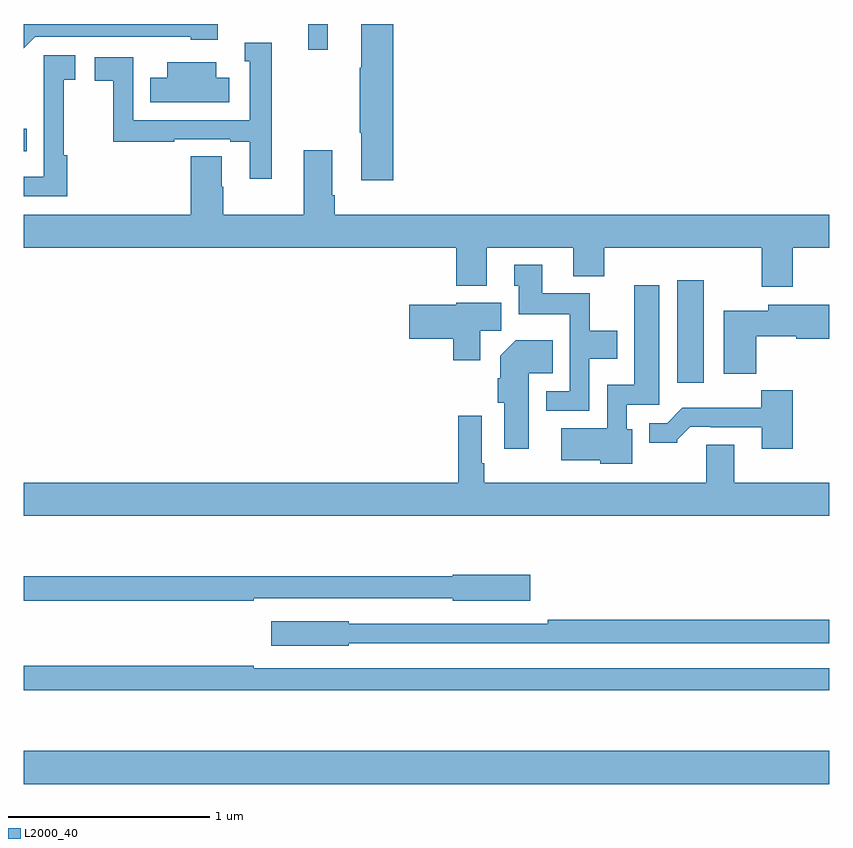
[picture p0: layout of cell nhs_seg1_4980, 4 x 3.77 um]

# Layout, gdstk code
import gdstk
lib = gdstk.Library(unit=1e-6, precision=1e-09)
def R(c, l, rs):  # rectangles x0, y0, x1, y1
    for r in rs: c.add(gdstk.rectangle(r[:2], r[2:], *l))
def P(c, l, *ps):  # polygons
    for p in ps: c.add(gdstk.Polygon(p, *l))
L2000_40 = (2000, 40)

nhs_seg1_4980 = lib.new_cell('nhs_seg1_4980')
R(nhs_seg1_4980, L2000_40, [(381,526.424,385,526.588), (384.245,528.417,384.376,528.925), (381,529.566,381.014,529.679), (382.413,530.07,382.51,530.199)])
P(nhs_seg1_4980, L2000_40, [(381.057,530.136),(381.828,530.136),(381.828,530.12),(381.964,530.12),(381.964,530.199),(381,530.199),(381,530.079)],
  [(382.835,530.199),(382.676,530.199),(382.676,529.982),(382.669,529.982),(382.669,529.66),(382.676,529.66),(382.676,529.422),(382.835,529.422)],
  [(382.231,530.107),(382.097,530.107),(382.097,530.013),(382.122,530.013),(382.122,529.722),(381.543,529.722),(381.543,530.034),(381.351,530.034),(381.351,529.918),(381.445,529.918),(381.445,529.614),(381.746,529.614),(381.746,529.626),(382.025,529.626),(382.025,529.614),(382.121,529.614),(382.121,529.431),(382.231,529.431)],
  [(381.215,529.547),(381.198,529.547),(381.198,529.923),(381.256,529.923),(381.256,530.044),(381.098,530.044),(381.098,529.768),(381.099,529.768),(381.099,529.44),(381,529.44),(381,529.344),(381.215,529.344)],
  [(382.021,529.933),(381.955,529.933),(381.955,530.008),(381.713,530.008),(381.713,529.933),(381.628,529.933),(381.628,529.811),(382.021,529.811)],
  [(384.818,529.088),(385,529.088),(385,529.252),(382.544,529.252),(382.544,529.348),(382.531,529.348),(382.531,529.573),(382.391,529.573),(382.391,529.252),(381.99,529.252),(381.99,529.391),(381.982,529.391),(381.982,529.541),(381.83,529.541),(381.83,529.252),(381,529.252),(381,529.088),(383.147,529.088),(383.147,528.899),(383.299,528.899),(383.299,529.088),(383.729,529.088),(383.729,528.947),(383.882,528.947),(383.882,529.088),(384.665,529.088),(384.665,528.894),(384.818,528.894)],
  [(383.808,528.536),(383.947,528.536),(383.947,528.676),(383.811,528.676),(383.811,528.862),(383.575,528.862),(383.575,529.003),(383.435,529.003),(383.435,528.9),(383.459,528.9),(383.459,528.758),(383.712,528.758),(383.712,528.375),(383.595,528.375),(383.595,528.279),(383.808,528.279)],
  [(384.022,528.186),(383.994,528.186),(383.994,528.309),(384.157,528.309),(384.157,528.901),(384.032,528.901),(384.032,528.406),(383.898,528.406),(383.898,528.19),(383.67,528.19),(383.67,528.032),(383.862,528.032),(383.862,528.014),(384.022,528.014)],
  [(383.266,528.676),(383.371,528.676),(383.371,528.814),(383.148,528.814),(383.148,528.805),(382.914,528.805),(382.914,528.635),(383.132,528.635),(383.132,528.528),(383.266,528.528)],
  [(384.638,528.647),(384.837,528.647),(384.837,528.635),(385,528.635),(385,528.805),(384.698,528.805),(384.698,528.775),(384.476,528.775),(384.476,528.461),(384.638,528.461)],
  [(383.509,528.464),(383.627,528.464),(383.627,528.628),(383.444,528.628),(383.366,528.55),(383.366,528.44),(383.354,528.44),(383.354,528.318),(383.387,528.318),(383.387,528.09),(383.509,528.09)],
  [(384.818,528.379),(384.663,528.379),(384.663,528.292),(384.271,528.292),(384.195,528.216),(384.107,528.216),(384.107,528.119),(384.246,528.119),(384.246,528.134),(384.31,528.198),(384.409,528.198),(384.409,528.195),(384.665,528.195),(384.665,528.09),(384.818,528.09)],
  [(385,527.92),(384.529,527.92),(384.529,528.11),(384.389,528.11),(384.389,527.92),(383.287,527.92),(383.287,528.016),(383.274,528.016),(383.274,528.253),(383.158,528.253),(383.158,527.92),(381,527.92),(381,527.756),(385,527.756)],
  [(383.515,527.463),(383.13,527.463),(383.13,527.455),(381,527.455),(381,527.334),(382.142,527.334),(382.142,527.346),(383.13,527.346),(383.13,527.333),(383.515,527.333)],
  [(382.614,527.124),(385,527.124),(385,527.24),(383.602,527.24),(383.602,527.22),(382.614,527.22),(382.614,527.233),(382.23,527.233),(382.23,527.111),(382.614,527.111)],
  [(385,526.998),(382.142,526.998),(382.142,527.011),(381,527.011),(381,526.89),(385,526.89)])

lib.write_gds('nhs_seg1_4980.gds')
